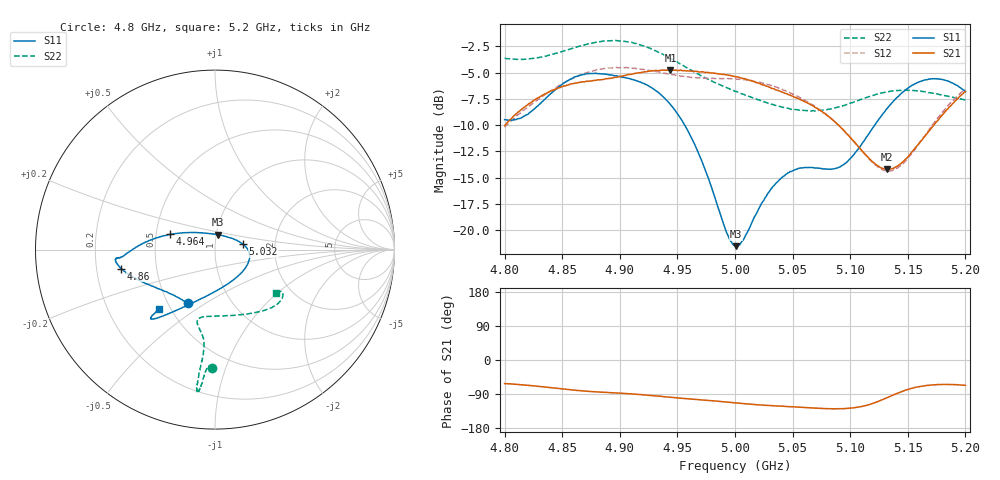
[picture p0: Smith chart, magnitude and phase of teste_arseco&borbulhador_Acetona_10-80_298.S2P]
! Network Analyzer HP8722D
! Hewlett-Packard
! Data name: Linha & Wilkinson
! Saver's name: Rodrigo Anjos
! Comments: Teste da utilização de aquisição
! continua pelo VNA HP8722D
! Time and date: 17/4/2025 16:50
!  Frequency  S11  S21  S12  S22
# HZ  S  MA R 50
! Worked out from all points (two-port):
!   401 points, 4.8 GHz to 5.2 GHz, reference 50 ohm
!   highest |S21| = -4.74 dB at 4.944 GHz (marker M1); lowest = -14.2 dB at 5.132 GHz (marker M2)
!   |S21| within 3 dB of the highest: 4.824 GHz to 5.06 GHz (236 MHz wide, 4.78 % of centre); 5.190719 GHz to end of sweep
!   lowest |S11| = -21.5 dB at 5.001 GHz (marker M3), VSWR 1.18, Z = 50.7 + j8.47 ohm
!   |S11| at or under -10 dB: 4.956 GHz to 5.121 GHz (164.8 MHz wide, 3.27 % of centre)
!   |S22| runs from -8.6 to -1.9 dB; largest |S21 - S12| = 0.87
!   S11 on the Smith chart (normalised r, x): 4.8 GHz: 0.63, -0.42; 4.86 GHz: 0.31, -0.09; 4.964 GHz: 0.59, +0.11; 5.032 GHz: 1.37, +0.09; 5.2 GHz: 0.43, -0.36
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4.8e9  0.3363 -116.8  0.3147 -62.3  0.3092 -176.6  0.6588 -91.4
4.819e9  0.3544 -137.1  0.392 -66.5  0.3811 -176.1  0.6531 -93.1
4.86e9  0.5338 -168.6  0.4993 -79.3  0.5303 -179.5  0.7368 -95.5
4.867e9  0.5489 -171.2  0.5084 -81.5  0.5523 179.4  0.7569 -95.8
4.898e9  0.5416 -175.2  0.5358 -87.1  0.5931 173.3  0.7977 -97.0
4.934e9  0.4507 179.2  0.5747 -95.7  0.567 170.0  0.7021 -97.4
4.944e9  0.3965 174.5  0.5794 -98.5  0.5517 170.1  0.6571 -97.0
4.964e9  0.2636 161.2  0.5701 -103.5  0.5326 171.9  0.5693 -96.3
4.993e9  0.0968 111.4  0.5495 -111.2  0.5273 174.2  0.4769 -98.9
5e9  0.08436 84.5  0.5387 -113.1  0.5258 174.1  0.4579 -100.2
5.001e9  0.08408 80.4  0.5368 -113.1  0.5251 174.1  0.458 -100.4
5.007e9  0.08985 57.7  0.5267 -114.8  0.5207 174.1  0.444 -101.6
5.032e9  0.1589 11.1  0.4729 -120.6  0.4883 173.0  0.3973 -103.4
5.048e9  0.1905 -4.0  0.4396 -123.1  0.4498 172.3  0.3782 -99.1
5.067e9  0.199 -24.4  0.3927 -126.5  0.3968 171.9  0.37 -88.4
5.096e9  0.209 -74.7  0.2922 -128.0  0.2932 174.8  0.3949 -65.9
5.119e9  0.3036 -109.6  0.2129 -115.1  0.2107 -170.4  0.4369 -50.5
5.132e9  0.3797 -120.3  0.1951 -99.5  0.1919 -152.9  0.4543 -44.1
5.134e9  0.3907 -121.5  0.1953 -96.7  0.1912 -149.9  0.4578 -43.3
5.147e9  0.46 -127.5  0.2151 -80.7  0.2104 -131.2  0.4636 -38.5
5.167e9  0.5207 -132.1  0.2893 -66.9  0.2938 -113.7  0.4536 -33.5
5.2e9  0.4565 -133.3  0.4573 -66.9  0.4686 -108.9  0.4172 -35.0
